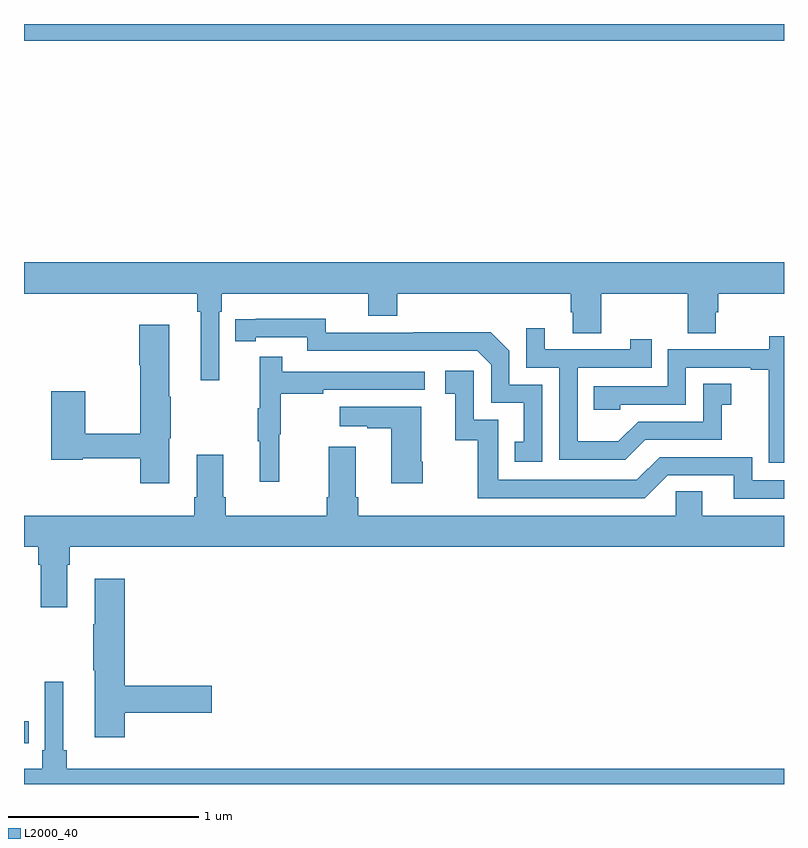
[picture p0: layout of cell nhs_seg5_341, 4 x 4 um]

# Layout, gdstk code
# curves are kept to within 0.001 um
import gdstk
lib = gdstk.Library(unit=1e-6, precision=1e-09)
def R(c, l, rs):  # rectangles x0, y0, x1, y1
    for r in rs: c.add(gdstk.rectangle(r[:2], r[2:], *l))
def P(c, l, *ps):  # polygons
    for p in ps: c.add(gdstk.Polygon(p, *l))
L2000_40 = (2000, 40)

nhs_seg5_341 = lib.new_cell('nhs_seg5_341')
R(nhs_seg5_341, L2000_40, [(131,901.014,131.024,901.13), (131,904.712,135,904.799)])
P(nhs_seg5_341, L2000_40, [(132.027,903.284),(132.041,903.284),(132.041,903.38),(132.812,903.38),(132.812,903.263),(132.965,903.263),(132.965,903.38),(133.877,903.38),(133.877,903.282),(133.889,903.282),(133.889,903.172),(134.037,903.172),(134.037,903.38),(134.494,903.38),(134.494,903.172),(134.641,903.172),(134.641,903.282),(134.654,903.282),(134.654,903.38),(135,903.38),(135,903.544),(131,903.544),(131,903.38),(131.911,903.38),(131.911,903.284),(131.93,903.284),(131.93,902.925),(132.027,902.925)],
  [(133.728,902.901),(133.554,902.901),(133.554,903.078),(133.456,903.176),(133.048,903.176),(133.048,903.174),(132.588,903.174),(132.588,903.247),(132.112,903.246),(132.112,903.13),(132.22,903.13),(132.22,903.15),(132.492,903.15),(132.492,903.078),(133.386,903.078),(133.458,903.006),(133.458,902.805),(133.631,902.805),(133.631,902.601),(133.582,902.601),(133.582,902.496),(133.728,902.496)],
  [(131.764,902.619),(131.772,902.619),(131.772,902.837),(131.764,902.837),(131.764,903.217),(131.606,903.217),(131.606,903.004),(131.611,903.004),(131.611,902.642),(131.322,902.642),(131.322,902.866),(131.144,902.866),(131.144,902.506),(131.31,902.506),(131.31,902.514),(131.611,902.514),(131.611,902.382),(131.764,902.382)],
  [(134.269,902.61),(134.673,902.61),(134.673,902.795),(134.722,902.795),(134.722,902.905),(134.574,902.905),(134.574,902.706),(134.232,902.706),(134.128,902.602),(133.914,902.602),(133.914,902.991),(134.303,902.991),(134.303,903.139),(134.192,903.139),(134.192,903.087),(133.741,903.087),(133.741,903.199),(133.644,903.199),(133.644,902.991),(133.818,902.991),(133.818,902.505),(134.164,902.505)],
  [(135,903.156),(134.922,903.156),(134.922,903.087),(134.388,903.087),(134.388,902.892),(133.999,902.892),(133.999,902.769),(134.139,902.769),(134.139,902.796),(134.484,902.796),(134.484,902.991),(134.825,902.991),(134.825,902.979),(134.921,902.979),(134.921,902.695),(134.92,902.695),(134.92,902.489),(135,902.489)],
  [(132.344,902.64),(132.352,902.64),(132.352,902.854),(132.575,902.854),(132.575,902.874),(133.108,902.874),(133.108,902.97),(132.359,902.97),(132.359,903.049),(132.242,903.049),(132.242,902.777),(132.231,902.777),(132.231,902.603),(132.242,902.603),(132.242,902.391),(132.344,902.391)],
  [(135,902.397),(134.832,902.397),(134.832,902.52),(134.346,902.52),(134.226,902.4),(133.497,902.4),(133.497,902.715),(133.368,902.715),(133.368,902.974),(133.218,902.974),(133.218,902.853),(133.271,902.853),(133.271,902.607),(133.389,902.607),(133.389,902.304),(134.268,902.304),(134.388,902.424),(134.735,902.424),(134.735,902.301),(135,902.301)],
  [(133.098,902.494),(133.09,902.494),(133.09,902.785),(132.663,902.785),(132.663,902.681),(132.806,902.681),(132.806,902.671),(132.932,902.671),(132.932,902.382),(133.098,902.382)],
  [(131.227,901.952),(131.24,901.952),(131.24,902.048),(135,902.048),(135,902.212),(134.569,902.212),(134.569,902.339),(134.43,902.339),(134.43,902.212),(132.758,902.212),(132.758,902.308),(132.745,902.308),(132.745,902.575),(132.605,902.575),(132.605,902.308),(132.593,902.308),(132.593,902.212),(132.062,902.212),(132.062,902.308),(132.049,902.308),(132.049,902.533),(131.909,902.533),(131.909,902.308),(131.897,902.308),(131.897,902.212),(131,902.212),(131,902.048),(131.075,902.048),(131.075,901.952),(131.087,901.952),(131.087,901.728),(131.227,901.728)],
  [(131.531,901.174),(131.989,901.174),(131.989,901.316),(131.531,901.316),(131.531,901.879),(131.372,901.879),(131.372,901.64),(131.365,901.64),(131.365,901.399),(131.372,901.399),(131.372,901.044),(131.531,901.044)],
  [(135,900.88),(131.225,900.88),(131.225,900.976),(131.206,900.976),(131.206,901.336),(131.109,901.336),(131.109,900.976),(131.096,900.976),(131.096,900.88),(131,900.88),(131,900.799),(135,900.799)])

lib.write_gds('nhs_seg5_341.gds')
